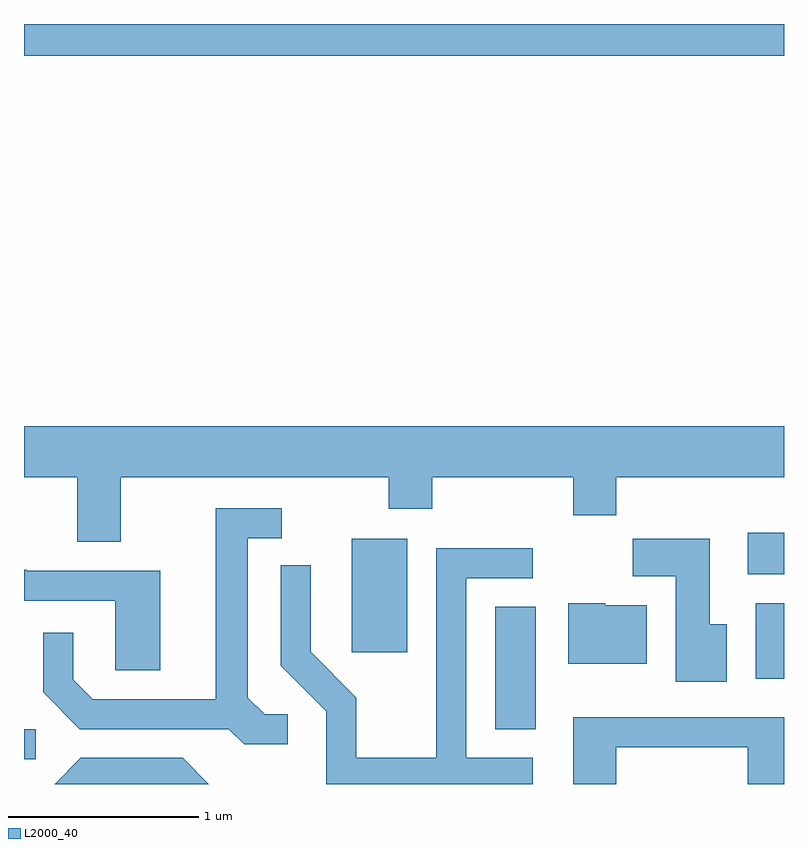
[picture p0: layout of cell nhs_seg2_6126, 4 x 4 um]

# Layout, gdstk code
import gdstk
lib = gdstk.Library(unit=1e-6, precision=1e-09)
def R(c, l, rs):  # rectangles x0, y0, x1, y1
    for r in rs: c.add(gdstk.rectangle(r[:2], r[2:], *l))
def P(c, l, *ps):  # polygons
    for p in ps: c.add(gdstk.Polygon(p, *l))
L2000_40 = (2000, 40)

nhs_seg2_6126 = lib.new_cell('nhs_seg2_6126')
R(nhs_seg2_6126, L2000_40, [(365.611,1057.931,365.673,1058.089), (368.091,1058.091,368.304,1058.734), (369.461,1058.356,369.611,1058.754), (367.336,1058.496,367.629,1059.094), (369.421,1058.906,369.611,1059.124), (365.611,1061.636,369.611,1061.802)])
P(nhs_seg2_6126, L2000_40, [(366.119,1059.416),(367.531,1059.416),(367.531,1059.251),(367.759,1059.251),(367.759,1059.416),(368.501,1059.416),(368.501,1059.216),(368.729,1059.216),(368.729,1059.416),(369.611,1059.416),(369.611,1059.684),(365.611,1059.684),(365.611,1059.416),(365.891,1059.416),(365.891,1059.076),(366.119,1059.076)],
  [(366.998,1058.169),(366.877,1058.169),(366.789,1058.257),(366.789,1059.096),(366.968,1059.096),(366.968,1059.254),(366.621,1059.254),(366.621,1058.249),(365.972,1058.249),(365.869,1058.352),(365.869,1058.598),(365.711,1058.598),(365.711,1058.284),(365.904,1058.091),(366.689,1058.091),(366.769,1058.011),(366.998,1058.011)],
  [(369.309,1058.644),(369.219,1058.644),(369.219,1059.094),(368.816,1059.094),(368.816,1058.896),(369.041,1058.896),(369.041,1058.341),(369.309,1058.341)],
  [(368.288,1057.939),(367.939,1057.939),(367.939,1058.886),(368.288,1058.886),(368.288,1059.044),(367.781,1059.044),(367.781,1057.939),(367.359,1057.939),(367.359,1058.257),(367.119,1058.497),(367.119,1058.953),(366.961,1058.953),(366.961,1058.424),(367.201,1058.184),(367.201,1057.802),(368.288,1057.802)],
  [(366.329,1058.924),(365.625,1058.924),(365.625,1058.929),(365.611,1058.929),(365.611,1058.766),(366.091,1058.766),(366.091,1058.401),(366.329,1058.401)],
  [(368.889,1058.744),(368.67,1058.744),(368.67,1058.754),(368.476,1058.754),(368.476,1058.436),(368.889,1058.436)],
  [(368.729,1057.996),(369.421,1057.996),(369.421,1057.802),(369.611,1057.802),(369.611,1058.154),(368.501,1058.154),(368.501,1057.802),(368.729,1057.802)],
  [(366.447,1057.939),(365.909,1057.939),(365.772,1057.802),(366.584,1057.802)])

lib.write_gds('nhs_seg2_6126.gds')
